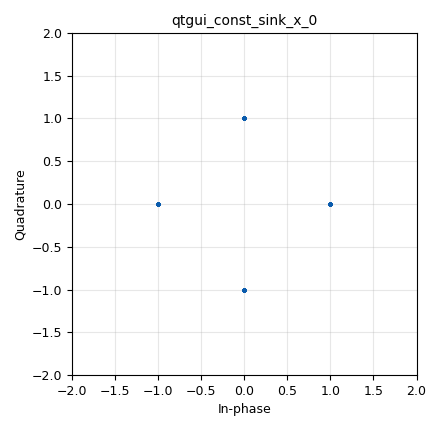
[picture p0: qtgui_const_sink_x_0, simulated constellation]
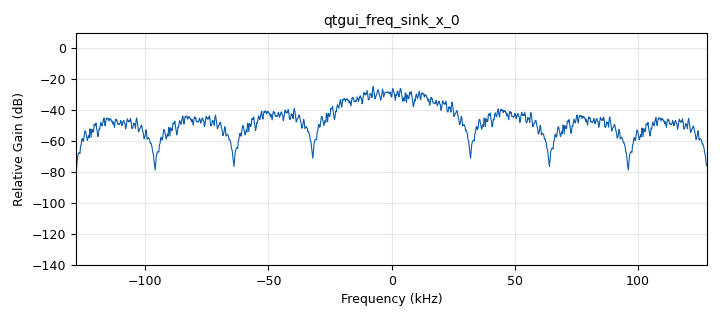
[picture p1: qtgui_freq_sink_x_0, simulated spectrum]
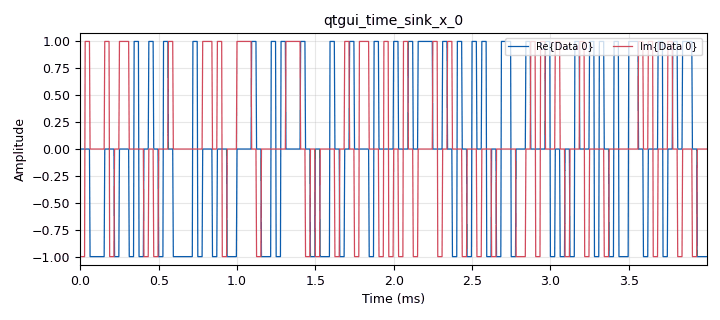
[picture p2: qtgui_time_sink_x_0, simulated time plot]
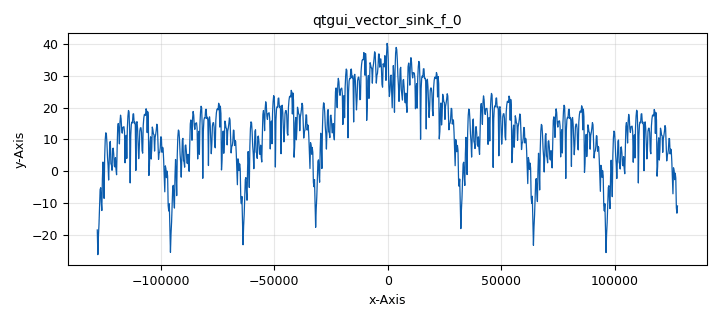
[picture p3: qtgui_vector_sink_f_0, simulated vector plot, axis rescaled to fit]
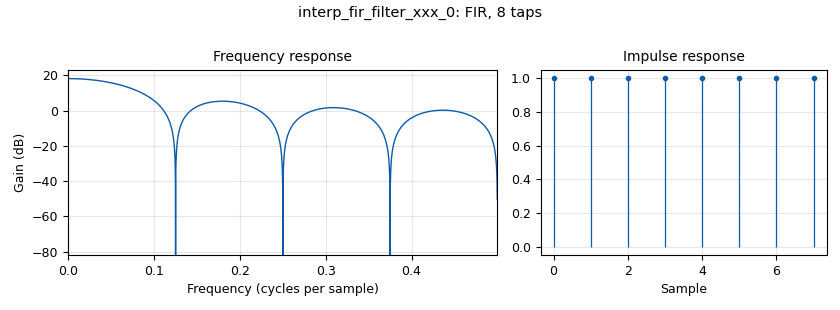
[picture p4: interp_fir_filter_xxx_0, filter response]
options:
  parameters:
    generate_options: qt_gui
    id: QPSK
    output_language: python
    title: Not titled yet
  states: {}

blocks:
- name: M
  id: variable
  parameters:
    value: len(Tabla_de_verdad_Constelacion)
  states: {}
- name: Nbps
  id: variable
  parameters:
    value: int(math.log(M,2))
  states: {}
- name: Rb
  id: variable
  parameters:
    value: Rs*Nbps
  states: {}
- name: Rs
  id: variable
  parameters:
    value: '32000'
  states: {}
- name: Tabla_de_verdad_Constelacion
  id: variable
  parameters:
    value: (0.77+0.77j, -0.77+0.77j, 0.77-0.77j, -0.77-0.77j)
  states: {state: disabled}
- name: Tabla_de_verdad_Constelacion
  id: variable
  parameters:
    value: (1, 0+1j, -1,0-1j)
  states: {}
- name: h
  id: variable
  parameters:
    value: '[1]*sps'
  states: {}
- name: samp_rate
  id: variable
  parameters:
    value: Rs*sps
  states: {}
- name: sps
  id: variable
  parameters:
    value: '8'
  states: {}
- name: analog_noise_source_x_0
  id: analog_noise_source_x
  parameters:
    amp: '0.2'
    noise_type: analog.GR_GAUSSIAN
    seed: '0'
    type: complex
  states: {state: disabled}
- name: analog_random_source_x_0
  id: analog_random_source_x
  parameters:
    max: '2'
    min: '0'
    num_samps: '1000'
    repeat: 'True'
    type: byte
  states: {}
- name: blocks_add_xx_0
  id: blocks_add_xx
  parameters:
    type: complex
  states: {state: disabled}
- name: blocks_complex_to_mag_squared_0
  id: blocks_complex_to_mag_squared
  parameters: {}
  states: {}
- name: blocks_multiply_const_vxx_0
  id: blocks_multiply_const_vxx
  parameters:
    const: '10'
    type: float
  states: {}
- name: blocks_nlog10_ff_0
  id: blocks_nlog10_ff
  parameters:
    k: '0'
  states: {}
- name: blocks_pack_k_bits_bb_0
  id: blocks_pack_k_bits_bb
  parameters:
    k: '8'
  states: {}
- name: blocks_packed_to_unpacked_xx_0
  id: blocks_packed_to_unpacked_xx
  parameters:
    bits_per_chunk: Nbps
    endianness: gr.GR_MSB_FIRST
    type: byte
  states: {}
- name: blocks_stream_to_vector_0
  id: blocks_stream_to_vector
  parameters:
    num_items: '1024'
    type: complex
  states: {}
- name: blocks_stream_to_vector_1
  id: blocks_stream_to_vector
  parameters:
    num_items: '1024'
    type: float
  states: {}
- name: blocks_vector_source_x_0
  id: blocks_vector_source_x
  parameters:
    repeat: 'True'
    type: byte
    vector: (0, 1, 2, 3)
  states: {state: disabled}
- name: blocks_vector_to_stream_1
  id: blocks_vector_to_stream
  parameters:
    num_items: '1024'
    type: complex
  states: {}
- name: digital_chunks_to_symbols_xx_0
  id: digital_chunks_to_symbols_xx
  parameters:
    dimension: '1'
    in_type: byte
    out_type: complex
    symbol_table: Tabla_de_verdad_Constelacion
  states: {}
- name: fft_vxx_0
  id: fft_vxx
  parameters:
    fft_size: '1024'
    forward: 'True'
    shift: 'True'
    type: complex
    window: window.blackmanharris(1024)
  states: {}
- name: import_0
  id: import
  parameters:
    imports: import math
  states: {}
- name: import_0_0
  id: import
  parameters:
    imports: import numpy as np
  states: {}
- name: interp_fir_filter_xxx_0
  id: interp_fir_filter_xxx
  parameters:
    interp: sps
    taps: h
    type: ccc
  states: {}
- name: qtgui_const_sink_x_0
  id: qtgui_const_sink_x
  parameters:
    size: '1024'
    type: complex
  states: {}
- name: qtgui_freq_sink_x_0
  id: qtgui_freq_sink_x
  parameters:
    average: '0.05'
    bw: samp_rate
    fc: '0'
    fftsize: '1024'
    type: complex
  states: {}
- name: qtgui_time_sink_x_0
  id: qtgui_time_sink_x
  parameters:
    size: '1024'
    srate: samp_rate
    type: complex
  states: {}
- name: qtgui_vector_sink_f_0
  id: qtgui_vector_sink_f
  parameters:
    average: '0.1'
    grid: 'True'
    vlen: '1024'
    x_start: '-samp_rate/2'
    x_step: samp_rate/1024
    ymax: '15'
  states: {}
- name: virtual_sink_0
  id: virtual_sink
  parameters:
    stream_id: A1
  states: {}
- name: virtual_sink_0_0
  id: virtual_sink
  parameters:
    stream_id: A0
  states: {}
- name: virtual_source_0
  id: virtual_source
  parameters:
    stream_id: A1
  states: {}
- name: virtual_source_0_0
  id: virtual_source
  parameters:
    stream_id: A0
  states: {}

connections:
- [analog_noise_source_x_0, '0', blocks_add_xx_0, '0']
- [analog_random_source_x_0, '0', blocks_pack_k_bits_bb_0, '0']
- [blocks_add_xx_0, '0', virtual_sink_0, '0']
- [blocks_complex_to_mag_squared_0, '0', blocks_nlog10_ff_0, '0']
- [blocks_multiply_const_vxx_0, '0', blocks_stream_to_vector_1, '0']
- [blocks_nlog10_ff_0, '0', blocks_multiply_const_vxx_0, '0']
- [blocks_pack_k_bits_bb_0, '0', blocks_packed_to_unpacked_xx_0, '0']
- [blocks_packed_to_unpacked_xx_0, '0', digital_chunks_to_symbols_xx_0, '0']
- [blocks_stream_to_vector_0, '0', fft_vxx_0, '0']
- [blocks_stream_to_vector_1, '0', qtgui_vector_sink_f_0, '0']
- [blocks_vector_source_x_0, '0', digital_chunks_to_symbols_xx_0, '0']
- [blocks_vector_to_stream_1, '0', blocks_complex_to_mag_squared_0, '0']
- [digital_chunks_to_symbols_xx_0, '0', interp_fir_filter_xxx_0, '0']
- [fft_vxx_0, '0', blocks_vector_to_stream_1, '0']
- [interp_fir_filter_xxx_0, '0', blocks_add_xx_0, '1']
- [interp_fir_filter_xxx_0, '0', blocks_stream_to_vector_0, '0']
- [interp_fir_filter_xxx_0, '0', virtual_sink_0, '0']
- [interp_fir_filter_xxx_0, '0', virtual_sink_0_0, '0']
- [virtual_source_0, '0', qtgui_const_sink_x_0, '0']
- [virtual_source_0, '0', qtgui_time_sink_x_0, '0']
- [virtual_source_0_0, '0', qtgui_freq_sink_x_0, '0']

metadata:
  file_format: 1
  grc_version: 3.10.10.0
